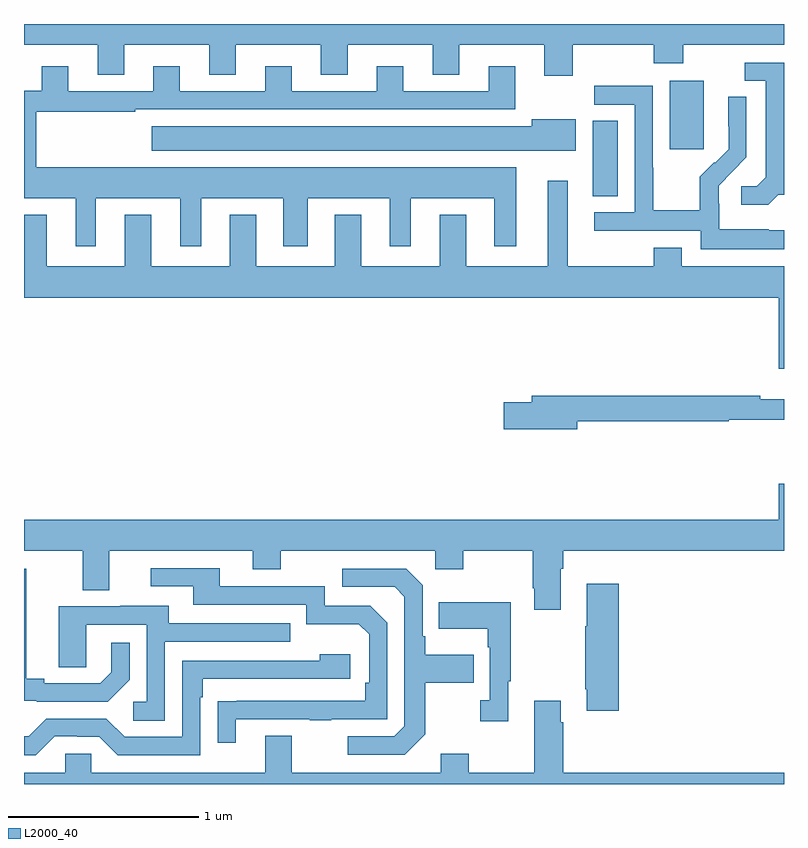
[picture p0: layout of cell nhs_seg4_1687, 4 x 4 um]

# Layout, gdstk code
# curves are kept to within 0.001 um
import gdstk
lib = gdstk.Library(unit=1e-6, precision=1e-09)
def R(c, l, rs):  # rectangles x0, y0, x1, y1
    for r in rs: c.add(gdstk.rectangle(r[:2], r[2:], *l))
def P(c, l, *ps):  # polygons
    for p in ps: c.add(gdstk.Polygon(p, *l))
L2000_40 = (2000, 40)

nhs_seg4_1687 = lib.new_cell('nhs_seg4_1687')
R(nhs_seg4_1687, L2000_40, [(199.994,823.993,200.125,824.39), (200.399,824.241,200.578,824.602)])
P(nhs_seg4_1687, L2000_40, [(199.887,824.792),(200.314,824.792),(200.314,824.693),(200.469,824.693),(200.469,824.792),(201,824.792),(201,824.9),(197,824.9),(197,824.792),(197.387,824.792),(197.387,824.632),(197.527,824.632),(197.527,824.792),(197.975,824.792),(197.975,824.632),(198.115,824.632),(198.115,824.792),(198.563,824.792),(198.563,824.632),(198.703,824.632),(198.703,824.792),(199.151,824.792),(199.151,824.632),(199.291,824.632),(199.291,824.792),(199.739,824.792),(199.739,824.628),(199.887,824.628)],
  [(200.97,824.001),(201,824.001),(201,824.697),(200.793,824.697),(200.793,824.601),(200.903,824.601),(200.903,824.093),(200.856,824.046),(200.775,824.046),(200.775,823.949),(200.918,823.949)],
  [(197.377,823.982),(197.822,823.982),(197.822,823.731),(197.932,823.731),(197.932,823.982),(198.365,823.982),(198.365,823.731),(198.493,823.731),(198.493,823.982),(198.926,823.982),(198.926,823.731),(199.036,823.731),(199.036,823.982),(199.475,823.982),(199.475,823.731),(199.591,823.731),(199.591,824.146),(197.065,824.146),(197.065,824.439),(197.585,824.439),(197.585,824.451),(199.585,824.451),(199.585,824.677),(199.445,824.677),(199.445,824.547),(198.997,824.547),(198.997,824.677),(198.857,824.677),(198.857,824.547),(198.409,824.547),(198.409,824.677),(198.269,824.677),(198.269,824.547),(197.821,824.547),(197.821,824.677),(197.681,824.677),(197.681,824.547),(197.233,824.547),(197.233,824.677),(197.093,824.677),(197.093,824.548),(197,824.548),(197,823.982),(197.273,823.982),(197.273,823.731),(197.377,823.731)],
  [(201,823.815),(200.921,823.815),(200.921,823.819),(200.658,823.819),(200.658,823.953),(200.656,823.953),(200.656,824.05),(200.802,824.198),(200.802,824.516),(200.706,824.516),(200.706,824.362),(200.708,824.362),(200.708,824.24),(200.637,824.169),(200.634,824.172),(200.557,824.095),(200.557,823.921),(200.313,823.921),(200.313,824.144),(200.31,824.144),(200.31,824.574),(200.001,824.574),(200.001,824.475),(200.214,824.475),(200.214,823.908),(200.001,823.908),(200.001,823.812),(200.562,823.812),(200.562,823.715),(201,823.715)],
  [(199.903,824.398),(199.673,824.398),(199.673,824.362),(197.673,824.362),(197.673,824.234),(199.903,824.234)],
  [(199.757,824.074),(199.757,823.624),(199.327,823.624),(199.327,823.897),(199.187,823.897),(199.187,823.624),(198.775,823.624),(198.775,823.897),(198.635,823.897),(198.635,823.624),(198.223,823.624),(198.223,823.897),(198.083,823.897),(198.083,823.624),(197.671,823.624),(197.671,823.897),(197.531,823.897),(197.531,823.624),(197.119,823.624),(197.119,823.897),(197,823.897),(197,823.46),(200.972,823.46),(200.972,823.086),(201,823.086),(201,823.624),(200.461,823.624),(200.461,823.723),(200.314,823.723),(200.314,823.624),(199.861,823.624),(199.861,824.074)],
  [(199.912,822.808),(200.708,822.808),(200.708,822.816),(201,822.816),(201,822.925),(200.876,822.925),(200.876,822.944),(199.673,822.944),(199.673,822.908),(199.524,822.908),(199.524,822.766),(199.912,822.766)],
  [(197,822.128),(197.309,822.128),(197.309,821.92),(197.449,821.92),(197.449,822.128),(198.203,822.128),(198.203,822.029),(198.351,822.029),(198.351,822.128),(199.164,822.128),(199.164,822.029),(199.311,822.029),(199.311,822.128),(199.678,822.128),(199.678,821.929),(199.685,821.929),(199.685,821.817),(199.825,821.817),(199.825,822.032),(199.838,822.032),(199.838,822.128),(201,822.128),(201,822.481),(200.972,822.481),(200.972,822.292),(197,822.292)],
  [(198.115,821.241),(198.505,821.241),(198.505,821.236),(198.617,821.236),(198.617,821.241),(198.912,821.241),(198.912,821.748),(198.822,821.838),(198.582,821.838),(198.582,821.94),(198.031,821.94),(198.031,822.036),(197.667,822.036),(197.667,821.94),(197.891,821.94),(197.891,821.844),(198.486,821.844),(198.486,821.741),(198.763,821.741),(198.816,821.688),(198.816,821.434),(198.796,821.434),(198.796,821.337),(198.019,821.336),(198.019,821.118),(198.115,821.118)],
  [(197.556,821.45),(197.556,821.644),(197.459,821.644),(197.459,821.487),(197.402,821.43),(197.107,821.43),(197.107,821.453),(197.011,821.453),(197.011,822.033),(197,822.033),(197,821.337),(197.068,821.337),(197.068,821.334),(197.44,821.334)],
  [(199.111,821.161),(199.111,821.434),(199.367,821.434),(199.367,821.581),(199.111,821.581),(199.111,821.677),(199.098,821.677),(199.098,821.946),(199.011,822.033),(198.675,822.033),(198.675,821.937),(198.951,821.937),(199.002,821.886),(199.002,821.205),(198.948,821.151),(198.705,821.151),(198.705,821.055),(199.005,821.055)],
  [(200.129,821.953),(199.961,821.953),(199.961,821.729),(199.954,821.729),(199.954,821.398),(199.961,821.398),(199.961,821.286),(200.129,821.286)],
  [(199.549,821.441),(199.561,821.441),(199.561,821.857),(199.183,821.857),(199.183,821.717),(199.44,821.717),(199.44,821.621),(199.452,821.621),(199.452,821.342),(199.401,821.342),(199.401,821.229),(199.549,821.229)],
  [(197.742,821.649),(198.401,821.649),(198.401,821.745),(197.761,821.745),(197.761,821.839),(197.507,821.839),(197.507,821.835),(197.183,821.835),(197.183,821.515),(197.328,821.515),(197.328,821.739),(197.646,821.739),(197.646,821.334),(197.574,821.334),(197.574,821.233),(197.742,821.233)],
  [(197.163,821.151),(197.279,821.151),(197.279,821.148),(197.397,821.148),(197.493,821.052),(197.928,821.052),(197.928,821.357),(197.941,821.357),(197.941,821.454),(198.718,821.454),(198.718,821.584),(198.557,821.584),(198.557,821.55),(197.832,821.55),(197.832,821.148),(197.529,821.148),(197.433,821.244),(197.118,821.244),(197.025,821.151),(197,821.151),(197,821.051),(197.063,821.051)],
  [(201,820.96),(199.838,820.96),(199.838,821.225),(199.825,821.225),(199.825,821.338),(199.685,821.338),(199.685,820.96),(199.341,820.96),(199.341,821.059),(199.193,821.059),(199.193,820.96),(198.409,820.96),(198.409,821.155),(198.269,821.155),(198.269,820.96),(197.355,820.96),(197.355,821.058),(197.217,821.058),(197.217,820.96),(197,820.96),(197,820.9),(201,820.9)])

lib.write_gds('nhs_seg4_1687.gds')
